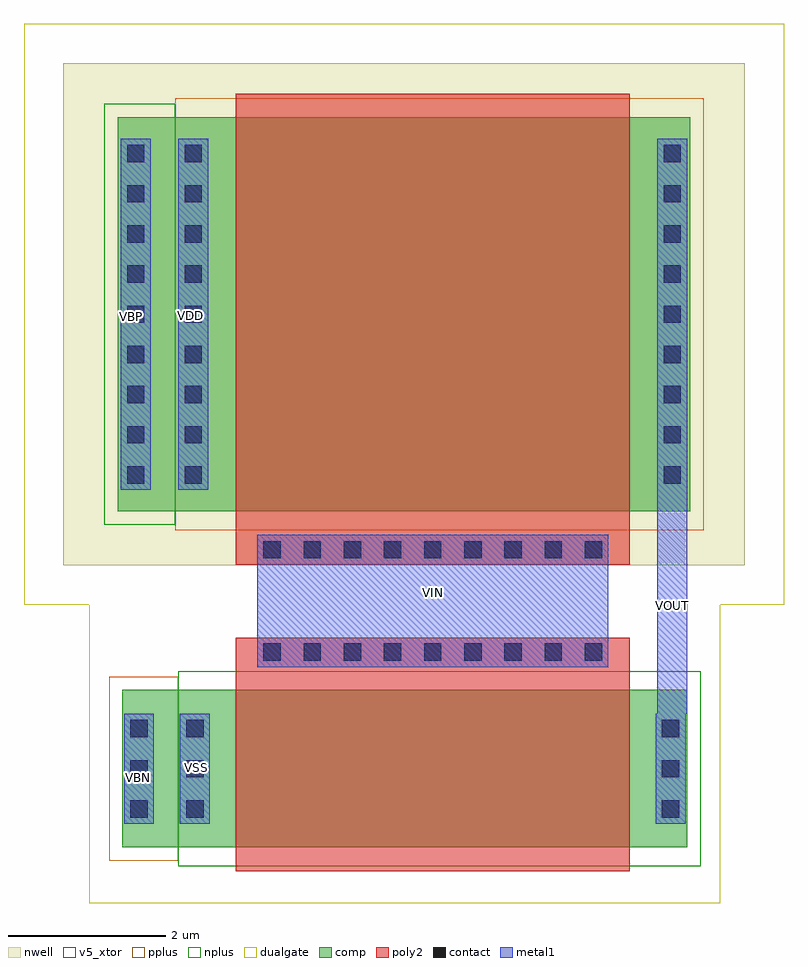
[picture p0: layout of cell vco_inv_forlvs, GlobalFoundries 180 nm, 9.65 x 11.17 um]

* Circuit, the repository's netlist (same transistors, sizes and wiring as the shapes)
** sch_path: /foss/designs/SSCS-Chipathon-2025_AC3E-Chile-team/xschem/vco/vco_inv_forlvs.sch
.subckt vco_inv_forlvs VIN VOUT VDD VSS
*.PININFO VIN:I VOUT:O VDD:B VSS:B
MP4 VOUT VIN VDD VDD pfet_06v0 L=5u W=5u nf=1 m=1
MN4 VOUT VIN VSS VSS nfet_06v0 L=5u W=2u nf=1 m=1
.ends

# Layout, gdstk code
from math import pi, radians
import gdstk
lib = gdstk.Library(unit=1e-6, precision=5e-09)
def R(c, l, rs):  # rectangles x0, y0, x1, y1
    for r in rs: c.add(gdstk.rectangle(r[:2], r[2:], *l))
def A(c, l, x, y, w, h, nx, ny, dx, dy):  # array of equal rectangles
    R(c, l, [(x+i*dx, y+j*dy, x+i*dx+w, y+j*dy+h) for i in range(nx) for j in range(ny)])
nwell = (21, 0)
comp = (22, 0)
poly2 = (30, 0)
pplus = (31, 0)
nplus = (32, 0)
contact = (33, 0)
metal1 = (34, 0)
dualgate = (55, 0)
v5_xtor = (112, 1)

nfet_1 = lib.new_cell('nfet$1')
R(nfet_1, comp, [(-0.42,0,0,2), (0,0,5.62,2), (5.62,0,6.04,2), (6.04,0,6.75,2)])
R(nfet_1, poly2, [(0.31,-0.3,5.31,2.3), (0.31,2.3,5.31,2.66)])
R(nfet_1, pplus, [(6.04,-0.17,6.92,2.17)])
R(nfet_1, nplus, [(-0.59,-0.24,6.04,2.24)])
A(nfet_1, contact, -0.32, 0.38, 0.22, 0.22, 1, 3, 0, 0.51)
A(nfet_1, contact, 5.72, 0.38, 0.22, 0.22, 1, 3, 0, 0.51)
A(nfet_1, contact, 6.43, 0.38, 0.22, 0.22, 1, 3, 0, 0.51)
A(nfet_1, contact, 0.66, 2.37, 0.22, 0.22, 9, 1, 0.51, 0)
R(nfet_1, metal1, [(-0.4,0.3,-0.02,1.7), (5.64,0.3,6.02,1.7), (6.35,0.3,6.73,1.7), (0.58,2.29,5.04,2.67)])
R(nfet_1, dualgate, [(-0.84,-0.71,7.17,3.08)])
R(nfet_1, v5_xtor, [(-0.84,-0.71,7.17,3.08)])

pfet = lib.new_cell('pfet')

pfet_1 = lib.new_cell('pfet$1')

pfet_3 = lib.new_cell('pfet$3')
R(pfet_3, nwell, [(-1.15,-0.69,7.5,5.69)])
R(pfet_3, comp, [(-0.46,0,0,5), (0,0,5.62,5), (5.62,0,6.08,5), (6.08,0,6.81,5)])
R(pfet_3, poly2, [(0.31,-0.3,5.31,5.3), (0.31,5.3,5.31,5.68)])
R(pfet_3, pplus, [(-0.63,-0.24,6.08,5.24)])
R(pfet_3, nplus, [(6.08,-0.17,6.98,5.17)])
A(pfet_3, contact, -0.34, 0.35, 0.22, 0.22, 1, 9, 0, 0.51)
A(pfet_3, contact, 5.74, 0.35, 0.22, 0.22, 1, 9, 0, 0.51)
A(pfet_3, contact, 6.47, 0.35, 0.22, 0.22, 1, 9, 0, 0.51)
A(pfet_3, contact, 0.66, 5.38, 0.22, 0.22, 9, 1, 0.51, 0)
R(pfet_3, metal1, [(-0.42,0.27,-0.04,4.73), (5.66,0.27,6.04,4.73), (6.39,0.27,6.77,4.73), (0.58,5.3,5.04,5.68)])
R(pfet_3, dualgate, [(-1.65,-1.19,8,6.19)])
R(pfet_3, v5_xtor, [(-1.65,-1.19,8,6.19)])

vco_inv_forlvs = lib.new_cell('vco_inv_forlvs')
R(vco_inv_forlvs, metal1, [(9.915,-3.155,10.295,-0.315), (4.835,-2.185,9.295,-1.265)])
vco_inv_forlvs.add(gdstk.Reference(nfet_1, (9.875,-4.855), rotation=pi, x_reflection=True))
vco_inv_forlvs.add(gdstk.Reference(pfet, (7.49,0.665), rotation=pi))
vco_inv_forlvs.add(gdstk.Reference(pfet, (7.265,0.74), rotation=pi))
vco_inv_forlvs.add(gdstk.Reference(pfet_1, (8.54,2.73), rotation=pi))
vco_inv_forlvs.add(gdstk.Reference(pfet_1, (6.875,1.175), rotation=pi))
vco_inv_forlvs.add(gdstk.Reference(pfet_3, (9.875,4.415), rotation=pi))
vco_inv_forlvs.add(gdstk.Label('VBP', (3.245,1.89), layer=34, texttype=10))
vco_inv_forlvs.add(gdstk.Label('VSS', (4.06,-3.84), layer=34, texttype=10))
vco_inv_forlvs.add(gdstk.Label('VBN', (3.325,-3.965), layer=34, texttype=10))
vco_inv_forlvs.add(gdstk.Label('VDD', (3.995,1.9), layer=34, texttype=10))
vco_inv_forlvs.add(gdstk.Label('VIN', (7.075,-1.615), layer=34, texttype=10))
vco_inv_forlvs.add(gdstk.Label('VOUT', (10.105,-1.785), layer=34, texttype=10))

lib.write_gds('vco_inv_forlvs.gds')
